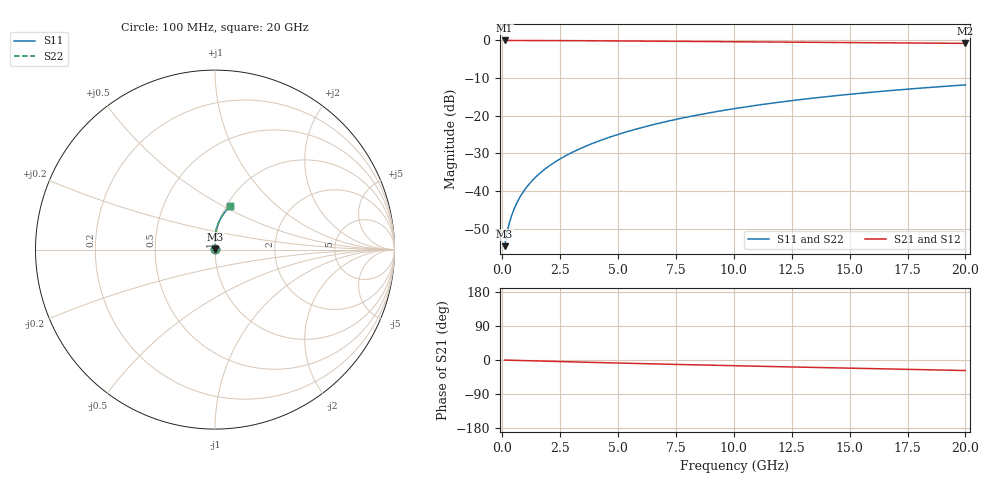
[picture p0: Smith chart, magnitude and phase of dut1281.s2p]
! Touchstone file exported from HFSS 2024.1.0
!  File:  C:/UserFiles/LocalFiles/RDL_TSV_Batchsim/temp_RDL_top_1281_1780242561.aedt
!  Generated:  11:51:22 PM May 31, 2026
!  Design:  RDL_top
!  Project:  temp_RDL_top_1281_1780242561
!  Setup:  Setup1
!  Solution:  Sweep
! Variables:
!  dtsv = 10.80580581um
!  hbump = 3um
!  htsv = 98.57um
!  ldown = 100um
!  lrdl = 377.55um
!  p = 40
!  p1 = 54.34um
!  rhole = 1um
!  t = 450um
!  tdown = 3.915915916um
!  trdl = 4.14um
!  wdown = 15.38538539um
!  wrdl = 26.36um
# GHz S MA R 50.000000
! Terminal data exported
! Port[1] = Box2_T1
! Port[2] = Box2_T2
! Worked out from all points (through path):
!   200 points, 100 MHz to 20 GHz, reference 50 ohm
!   highest |S21| = -0.01 dB at 100 MHz (marker M1); lowest = -0.8 dB at 20 GHz (marker M2)
!   group delay of S21, straight-line fit = 3.8 ps
!   lowest |S11| = -54.6 dB at 100 MHz (marker M3), VSWR 1.00, Z = 50.1 + j0.119 ohm
!   |S11| at or under -10 dB: start of sweep to end of sweep
!   |S22| runs from -54.6 to -11.8 dB; largest |S21 - S12| = 2.6e-15
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0.1  0.00186 39.5  0.9986 -0.2  0.9986 -0.2  0.00186 39.5
! Gamma 0 0 0 0
! Port Impedance 50 0 50 0
0.2  0.002763 56.5  0.9984 -0.3  0.9984 -0.3  0.002763 56.5
0.3  0.003733 64.5  0.9983 -0.5  0.9983 -0.5  0.003733 64.5
0.4  0.00471 69.3  0.9982 -0.7  0.9982 -0.7  0.00471 69.3
0.5  0.005694 72.7  0.9981 -0.9  0.9981 -0.9  0.005694 72.7
0.6  0.006686 75.2  0.998 -1.0  0.998 -1.0  0.006686 75.2
0.8  0.008697 78.7  0.9978 -1.3  0.9978 -1.3  0.008697 78.7
1.1  0.01177 82.0  0.9973 -1.8  0.9973 -1.8  0.01177 82.0
1.5  0.01596 84.6  0.9966 -2.5  0.9966 -2.5  0.01596 84.6
1.8  0.01916 85.9  0.996 -3.0  0.996 -3.0  0.01916 85.9
2.1  0.0224 86.8  0.9952 -3.5  0.9952 -3.5  0.0224 86.8
2.7  0.02905 88.2  0.9935 -4.5  0.9935 -4.5  0.02905 88.2
3.5  0.03825 89.2  0.9906 -5.7  0.9906 -5.7  0.03824 89.2
4.2  0.04661 89.6  0.9878 -6.8  0.9878 -6.8  0.04661 89.6
5  0.05653 89.7  0.9842 -8.0  0.9842 -8.0  0.05652 89.7
6.8  0.08001 88.8  0.9756 -10.7  0.9756 -10.7  0.07999 88.8
8.4  0.1018 87.2  0.9677 -12.9  0.9677 -12.9  0.1018 87.2
10.1  0.1254 85.1  0.9595 -15.2  0.9595 -15.2  0.1254 85.0
11.7  0.1477 82.8  0.9518 -17.3  0.9518 -17.3  0.1476 82.8
13.4  0.1711 80.3  0.9438 -19.5  0.9438 -19.5  0.171 80.3
16.7  0.2152 75.4  0.9284 -23.7  0.9284 -23.7  0.2151 75.4
20  0.2568 70.7  0.9129 -27.8  0.9129 -27.8  0.2567 70.6
